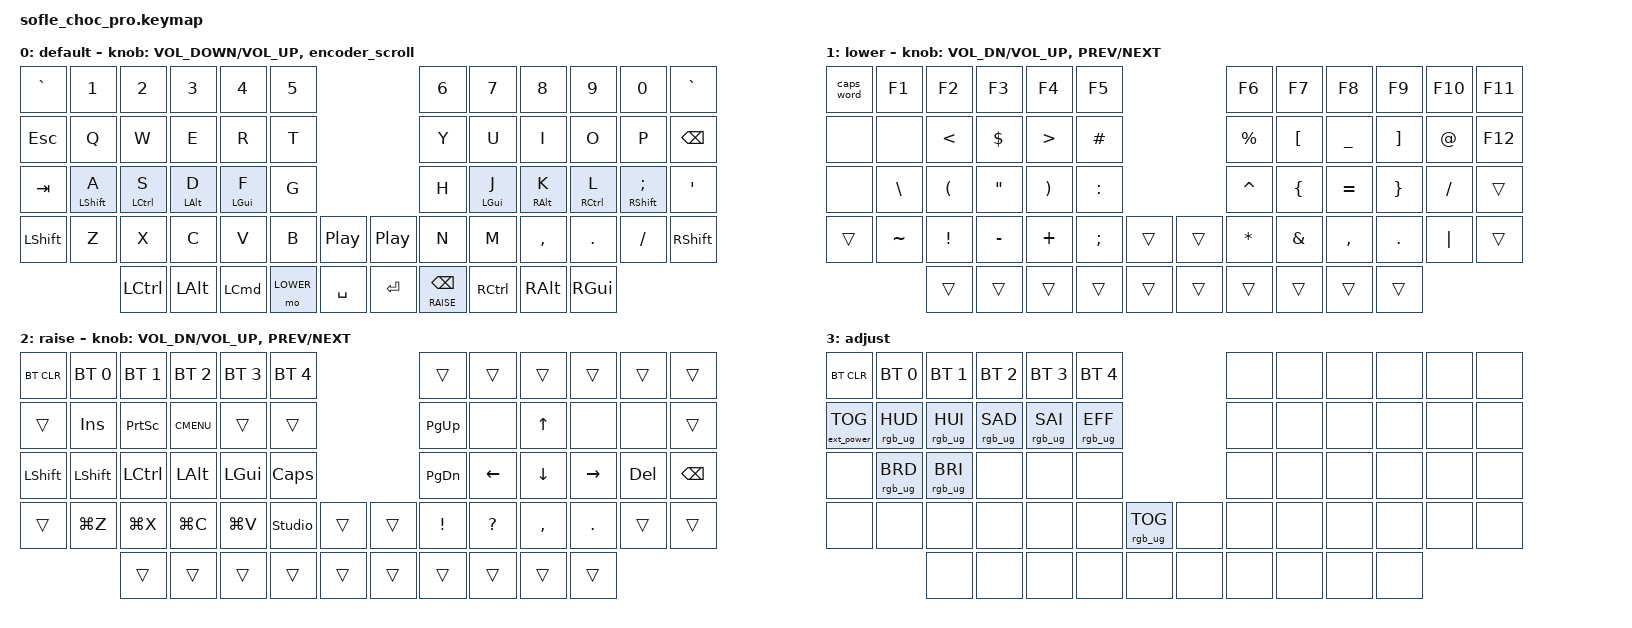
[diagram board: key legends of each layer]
/*
* Copyright (c) 2020 The ZMK Contributors
*
* SPDX-License-Identifier: MIT
*/

#include <behaviors.dtsi>
#include <dt-bindings/zmk/bt.h>
#include <dt-bindings/zmk/ext_power.h>
#include <dt-bindings/zmk/keys.h>
#include <dt-bindings/zmk/pointing.h>
#include <dt-bindings/zmk/rgb.h>

#define BASE 0
#define LOWER 1
#define RAISE 2
#define ADJUST 3

/ {
    // Activate ADJUST layer by pressing raise and lower

    conditional_layers {
        compatible = "zmk,conditional-layers";

        adjust_layer {
            if-layers = <LOWER RAISE>;
            then-layer = <ADJUST>;
        };
    };

    behaviors {
        homerow_mod: homerow_mod {
            compatible = "zmk,behavior-hold-tap";
            label = "HOMEROW_MOD";
            #binding-cells = <2>;
            tapping-term-ms = <200>;
            flavor = "balanced";
            require-prior-idle-ms = <125>;
            bindings = <&kp>, <&kp>;
        };

        encoder_scroll: encoder_scroll {
            compatible = "zmk,behavior-sensor-rotate";
            label = "ENCODER_SCROLL";
            #sensor-binding-cells = <0>;
            bindings = <&msc SCRL_UP>, <&msc SCRL_DOWN>;
        };
    };

    keymap {
        compatible = "zmk,keymap";

        default_layer {
            display-name = "default";
            bindings = <
&kp GRAVE  &kp N1                     &kp N2                       &kp N3                   &kp N4                   &kp N5                                           &kp N6               &kp N7                   &kp N8                    &kp N9                        &kp N0                              &kp GRAVE
&kp ESC    &kp Q                      &kp W                        &kp E                    &kp R                    &kp T                                            &kp Y                &kp U                    &kp I                     &kp O                         &kp P                               &kp BSPC
&kp TAB    &homerow_mod LEFT_SHIFT A  &homerow_mod LEFT_CONTROL S  &homerow_mod LEFT_ALT D  &homerow_mod LEFT_GUI F  &kp G                                            &kp H                &homerow_mod LEFT_GUI J  &homerow_mod RIGHT_ALT K  &homerow_mod RIGHT_CONTROL L  &homerow_mod RIGHT_SHIFT SEMICOLON  &kp SQT
&kp LSHFT  &kp Z                      &kp X                        &kp C                    &kp V                    &kp B      &kp C_PLAY_PAUSE    &kp C_PLAY_PAUSE  &kp N                &kp M                    &kp COMMA                 &kp DOT                       &kp FSLH                            &kp RSHFT
                                      &kp LEFT_CONTROL             &kp LALT                 &kp LEFT_COMMAND         &mo LOWER  &kp SPACE           &kp RET           &lt RAISE BACKSPACE  &kp RCTRL                &kp RALT                  &kp RGUI
            >;

            sensor-bindings =
                <&inc_dec_kp C_VOLUME_DOWN C_VOLUME_UP>,
                <&encoder_scroll>;
        };

        symbols {
            display-name = "lower";
            bindings = <
&caps_word  &kp F1         &kp F2                &kp F3             &kp F4                 &kp F5                           &kp F6        &kp F7            &kp F8          &kp F9             &kp F10      &kp F11
&none       &none          &kp LESS_THAN         &kp DOLLAR         &kp GREATER_THAN       &kp HASH                         &kp PERCENT   &kp LEFT_BRACKET  &kp UNDERSCORE  &kp RIGHT_BRACKET  &kp AT_SIGN  &kp F12
&none       &kp BACKSLASH  &kp LEFT_PARENTHESIS  &kp DOUBLE_QUOTES  &kp RIGHT_PARENTHESIS  &kp COLON                        &kp CARET     &kp LEFT_BRACE    &kp EQUAL       &kp RIGHT_BRACE    &kp SLASH    &trans
&trans      &kp TILDE      &kp EXCLAMATION       &kp MINUS          &kp PLUS               &kp SEMICOLON  &trans    &trans  &kp ASTERISK  &kp AMPERSAND     &kp COMMA       &kp PERIOD         &kp PIPE     &trans
                           &trans                &trans             &trans                 &trans         &trans    &trans  &trans        &trans            &trans          &trans
            >;

            sensor-bindings = <&inc_dec_kp C_VOL_DN C_VOL_UP &inc_dec_kp C_PREV C_NEXT>;
        };

        raise_layer {
            display-name = "raise";
            bindings = <
&bt BT_CLR      &bt BT_SEL 0    &bt BT_SEL 1      &bt BT_SEL 2  &bt BT_SEL 3  &bt BT_SEL 4                      &trans           &trans        &trans     &trans      &trans   &trans
&trans          &kp INS         &kp PSCRN         &kp K_CMENU   &trans        &trans                            &kp PG_UP        &none         &kp UP     &none       &none    &trans
&kp LEFT_SHIFT  &kp LEFT_SHIFT  &kp LEFT_CONTROL  &kp LEFT_ALT  &kp LEFT_GUI  &kp CLCK                          &kp PG_DN        &kp LEFT      &kp DOWN   &kp RIGHT   &kp DEL  &kp BSPC
&trans          &kp LG(Z)       &kp LG(X)         &kp LG(C)     &kp LG(V)     &studio_unlock  &trans    &trans  &kp EXCLAMATION  &kp QUESTION  &kp COMMA  &kp PERIOD  &trans   &trans
                                &trans            &trans        &trans        &trans          &trans    &trans  &trans           &trans        &trans     &trans
            >;

            sensor-bindings = <&inc_dec_kp C_VOL_DN C_VOL_UP &inc_dec_kp C_PREV C_NEXT>;
        };

        adjust_layer {
            display-name = "adjust";
            bindings = <
&bt BT_CLR         &bt BT_SEL 0     &bt BT_SEL 1     &bt BT_SEL 2     &bt BT_SEL 3     &bt BT_SEL 4                               &none  &none  &none  &none  &none  &none
&ext_power EP_TOG  &rgb_ug RGB_HUD  &rgb_ug RGB_HUI  &rgb_ug RGB_SAD  &rgb_ug RGB_SAI  &rgb_ug RGB_EFF                            &none  &none  &none  &none  &none  &none
&none              &rgb_ug RGB_BRD  &rgb_ug RGB_BRI  &none            &none            &none                                      &none  &none  &none  &none  &none  &none
&none              &none            &none            &none            &none            &none            &rgb_ug RGB_TOG    &none  &none  &none  &none  &none  &none  &none
                                    &none            &none            &none            &none            &none              &none  &none  &none  &none  &none
            >;
        };
    };
};
